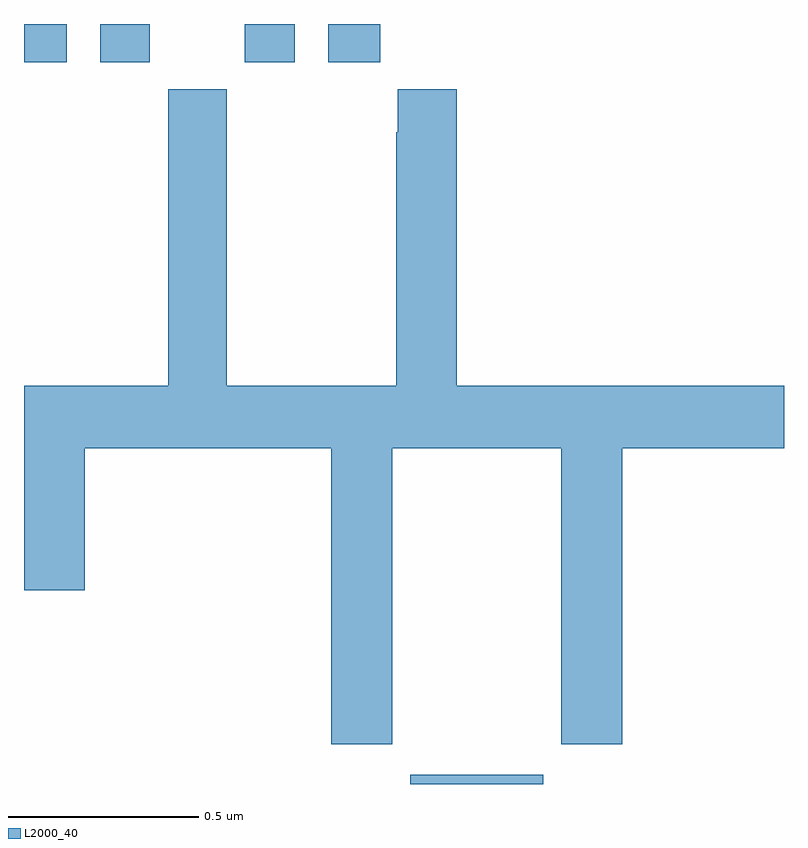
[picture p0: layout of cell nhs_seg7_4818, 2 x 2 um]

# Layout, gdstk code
import gdstk
lib = gdstk.Library(unit=1e-6, precision=1e-09)
def R(c, l, rs):  # rectangles x0, y0, x1, y1
    for r in rs: c.add(gdstk.rectangle(r[:2], r[2:], *l))
def P(c, l, *ps):  # polygons
    for p in ps: c.add(gdstk.Polygon(p, *l))
L2000_40 = (2000, 40)

nhs_seg7_4818 = lib.new_cell('nhs_seg7_4818')
R(nhs_seg7_4818, L2000_40, [(178.016,1065,178.366,1065.025), (177,1066.899,177.112,1067), (177.2,1066.899,177.331,1067), (177.581,1066.899,177.712,1067), (177.8,1066.899,177.937,1067)])
P(nhs_seg7_4818, L2000_40, [(177.969,1065.884),(178.414,1065.884),(178.414,1065.105),(178.574,1065.105),(178.574,1065.884),(179,1065.884),(179,1066.048),(178.139,1066.048),(178.139,1066.828),(177.983,1066.828),(177.983,1066.715),(177.979,1066.715),(177.979,1066.048),(177.534,1066.048),(177.534,1066.828),(177.379,1066.828),(177.379,1066.048),(177,1066.048),(177,1065.51),(177.16,1065.51),(177.16,1065.884),(177.809,1065.884),(177.809,1065.105),(177.969,1065.105)])

lib.write_gds('nhs_seg7_4818.gds')
